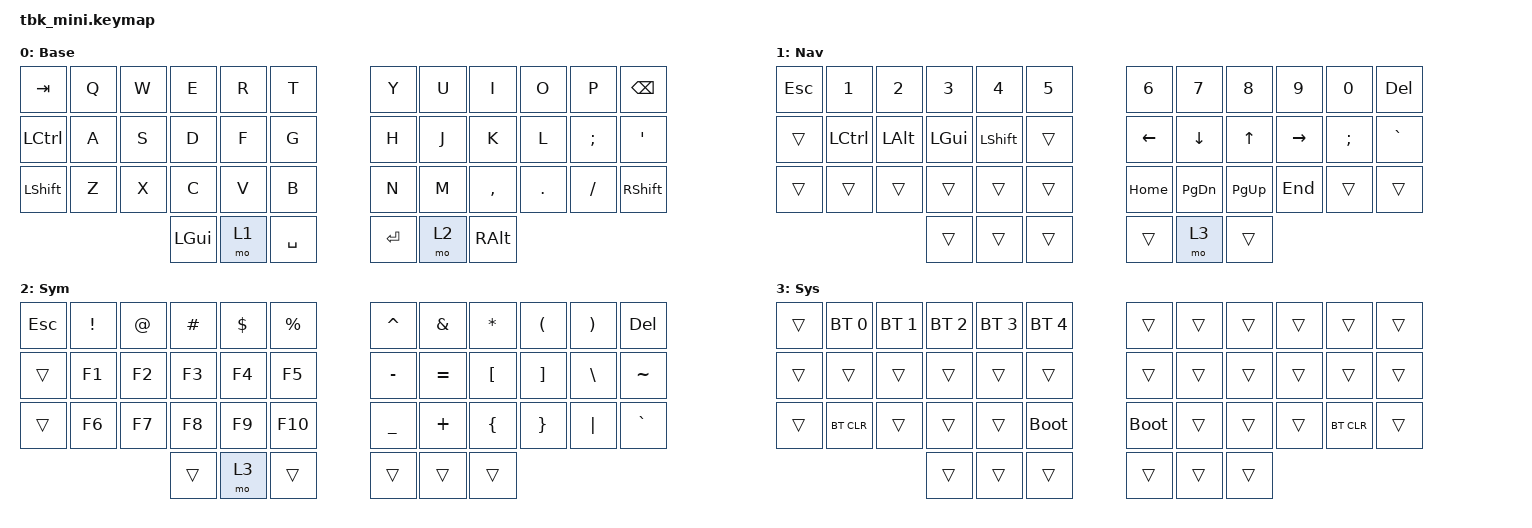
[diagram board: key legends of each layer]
/*
 * TBK Mini default keymap  –  42 keys (3×6 + 3 thumb per side)
 *
 * Physical layout:
 *
 *  ╭────────────────────────────────────────╮ ╭────────────────────────────────────────╮
 *  │  TAB   Q    W    E    R    T           │ │           Y    U    I    O    P   BSPC │
 *  │  CTRL  A    S    D    F    G           │ │           H    J    K    L    ;   SQT  │
 *  │  SHFT  Z    X    C    V    B           │ │           N    M    ,    .    /   SHFT │
 *  ╰──────────────────────╮ GUI  NAV  SPC  │ │  RET  SYM  ALT ╭───────────────────────╯
 *                          ╰───────────────╯ ╰───────────────╯
 *
 * Layer 0 – Base (QWERTY)
 * Layer 1 – Navigation / Numbers
 * Layer 2 – Symbols / Function keys
 * Layer 3 – Bluetooth / System
 */

#include <behaviors.dtsi>
#include <dt-bindings/zmk/keys.h>
#include <dt-bindings/zmk/bt.h>

/ {
    keymap {
        compatible = "zmk,keymap";

        /* ── Layer 0: Base (QWERTY) ─────────────────────────────────── */
        default_layer {
            display-name = "Base";
            bindings = <
        // ╭──────────┬──────────┬──────────┬──────────┬──────────┬──────────╮   ╭──────────┬──────────┬──────────┬──────────┬──────────┬──────────╮
              &kp TAB    &kp Q      &kp W      &kp E      &kp R      &kp T          &kp Y      &kp U      &kp I      &kp O      &kp P      &kp BSPC
        // ├──────────┼──────────┼──────────┼──────────┼──────────┼──────────┤   ├──────────┼──────────┼──────────┼──────────┼──────────┼──────────┤
              &kp LCTRL  &kp A      &kp S      &kp D      &kp F      &kp G          &kp H      &kp J      &kp K      &kp L      &kp SEMI   &kp SQT
        // ├──────────┼──────────┼──────────┼──────────┼──────────┼──────────┤   ├──────────┼──────────┼──────────┼──────────┼──────────┼──────────┤
              &kp LSHFT  &kp Z      &kp X      &kp C      &kp V      &kp B          &kp N      &kp M      &kp COMMA  &kp DOT    &kp FSLH   &kp RSHFT
        // ╰──────────┴──────────┴──────────┼──────────┼──────────┼──────────┤   ├──────────┼──────────┼──────────┼──────────┴──────────┴──────────╯
                                             &kp LGUI   &mo 1      &kp SPACE      &kp RET    &mo 2      &kp RALT
        //                                  ╰──────────┴──────────┴──────────╯   ╰──────────┴──────────┴──────────╯
            >;
        };

        /* ── Layer 1: Navigation / Numbers ─────────────────────────── */
        nav_layer {
            display-name = "Nav";
            bindings = <
        // ╭──────────┬──────────┬──────────┬──────────┬──────────┬──────────╮   ╭──────────┬──────────┬──────────┬──────────┬──────────┬──────────╮
              &kp ESC    &kp N1     &kp N2     &kp N3     &kp N4     &kp N5         &kp N6     &kp N7     &kp N8     &kp N9     &kp N0     &kp DEL
        // ├──────────┼──────────┼──────────┼──────────┼──────────┼──────────┤   ├──────────┼──────────┼──────────┼──────────┼──────────┼──────────┤
              &trans     &kp LCTRL  &kp LALT   &kp LGUI   &kp LSHFT  &trans         &kp LEFT   &kp DOWN   &kp UP     &kp RIGHT  &kp SEMI   &kp GRAVE
        // ├──────────┼──────────┼──────────┼──────────┼──────────┼──────────┤   ├──────────┼──────────┼──────────┼──────────┼──────────┼──────────┤
              &trans     &trans     &trans     &trans     &trans     &trans         &kp HOME   &kp PG_DN  &kp PG_UP  &kp END    &trans     &trans
        // ╰──────────┴──────────┴──────────┼──────────┼──────────┼──────────┤   ├──────────┼──────────┼──────────┼──────────┴──────────┴──────────╯
                                             &trans     &trans     &trans         &trans     &mo 3      &trans
        //                                  ╰──────────┴──────────┴──────────╯   ╰──────────┴──────────┴──────────╯
            >;
        };

        /* ── Layer 2: Symbols / Function keys ──────────────────────── */
        sym_layer {
            display-name = "Sym";
            bindings = <
        // ╭──────────┬──────────┬──────────┬──────────┬──────────┬──────────╮   ╭──────────┬──────────┬──────────┬──────────┬──────────┬──────────╮
              &kp ESC    &kp EXCL   &kp AT     &kp HASH   &kp DLLR   &kp PRCNT      &kp CARET  &kp AMPS   &kp STAR   &kp LPAR   &kp RPAR   &kp DEL
        // ├──────────┼──────────┼──────────┼──────────┼──────────┼──────────┤   ├──────────┼──────────┼──────────┼──────────┼──────────┼──────────┤
              &trans     &kp F1     &kp F2     &kp F3     &kp F4     &kp F5         &kp MINUS  &kp EQUAL  &kp LBKT   &kp RBKT   &kp BSLH   &kp TILDE
        // ├──────────┼──────────┼──────────┼──────────┼──────────┼──────────┤   ├──────────┼──────────┼──────────┼──────────┼──────────┼──────────┤
              &trans     &kp F6     &kp F7     &kp F8     &kp F9     &kp F10        &kp UNDER  &kp PLUS   &kp LBRC   &kp RBRC   &kp PIPE   &kp GRAVE
        // ╰──────────┴──────────┴──────────┼──────────┼──────────┼──────────┤   ├──────────┼──────────┼──────────┼──────────┴──────────┴──────────╯
                                             &trans     &mo 3      &trans         &trans     &trans     &trans
        //                                  ╰──────────┴──────────┴──────────╯   ╰──────────┴──────────┴──────────╯
            >;
        };

        /* ── Layer 3: Bluetooth / System ───────────────────────────── */
        sys_layer {
            display-name = "Sys";
            bindings = <
        // ╭──────────┬──────────┬──────────┬──────────┬──────────┬──────────╮   ╭──────────┬──────────┬──────────┬──────────┬──────────┬──────────╮
              &trans  &bt BT_SEL 0 &bt BT_SEL 1 &bt BT_SEL 2 &bt BT_SEL 3 &bt BT_SEL 4   &trans  &trans  &trans  &trans  &trans  &trans
        // ├──────────┼──────────┼──────────┼──────────┼──────────┼──────────┤   ├──────────┼──────────┼──────────┼──────────┼──────────┼──────────┤
              &trans     &trans     &trans     &trans     &trans     &trans         &trans     &trans     &trans     &trans     &trans     &trans
        // ├──────────┼──────────┼──────────┼──────────┼──────────┼──────────┤   ├──────────┼──────────┼──────────┼──────────┼──────────┼──────────┤
              &trans   &bt BT_CLR  &trans     &trans     &trans   &bootloader    &bootloader  &trans     &trans     &trans   &bt BT_CLR  &trans
        // ╰──────────┴──────────┴──────────┼──────────┼──────────┼──────────┤   ├──────────┼──────────┼──────────┼──────────┴──────────┴──────────╯
                                             &trans     &trans     &trans         &trans     &trans     &trans
        //                                  ╰──────────┴──────────┴──────────╯   ╰──────────┴──────────┴──────────╯
            >;
        };
    };
};
